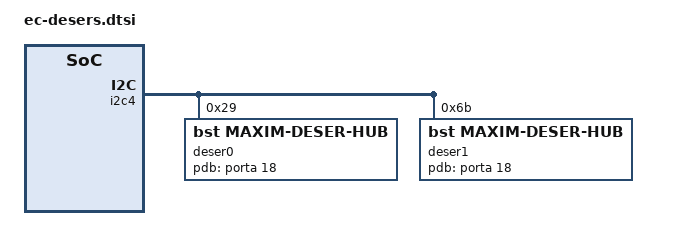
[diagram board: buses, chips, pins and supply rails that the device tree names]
/*
   default deser config for jac21
   deser0@i2c2 0x30:    ti960
   deser1@i2c2 0x32:    ti960
   deser2@i2c2 0x34:    ti960
*/

&i2c4 {
    #address-cells = <1>;
    #size-cells = <0>;

    deser0: max96712@29 {
        compatible = "bst,maxim-deser-hub";
        type = "max96712";
        reg = <0x29>;
        i2c-port = <0>;
        csi2-port = <0>;
        lane-speed = <1600>;
        regs = <0x40>;
        data-type = <0x2d>;
        trigger-mode = <1>;                 /*0:default,1:internal,2:external*/
        trigger-fps = <30>;
        trigger-rx-gpio = <1>;
        maxim,hsync-invert = <0>;
        maxim,vsync-invert = <0>;
        maxim,link-mode = "GMSL2";          /*ar0143:GMSL1/imx424:GMSL2*/
        pdb-gpio = <&porta 18 0>;
    };
};

&i2c4 {
    #address-cells = <1>;
    #size-cells = <0>;

    deser1: max96712@6B {
        compatible = "bst,maxim-deser-hub";
        type = "max96712";
        reg = <0x6B>;
        i2c-port = <0>;
        csi2-port = <0>;
        lane-speed = <1600>;
        regs = <0x40>;
        data-type = <0x2d>;
        trigger-mode = <1>;                 /*0:default,1:internal,2:external*/
        trigger-fps = <30>;
        trigger-rx-gpio = <1>;
        maxim,hsync-invert = <0>;
        maxim,vsync-invert = <0>;
        maxim,link-mode = "GMSL2";          /*ar0143:GMSL1/imx424:GMSL2*/
        pdb-gpio = <&porta 18 0>;
    };

    deser2: ti960@34 {
        compatible = "bst,ti-deser-hub";
        type = "ti960";
        reg = <0x34>;
        i2c-port = <0>;
        csi2-port = <0>;
        lane-speed = <1600>;
        status = "disable";
    };
};

#include "../common/a1000b-deser.dtsi"
